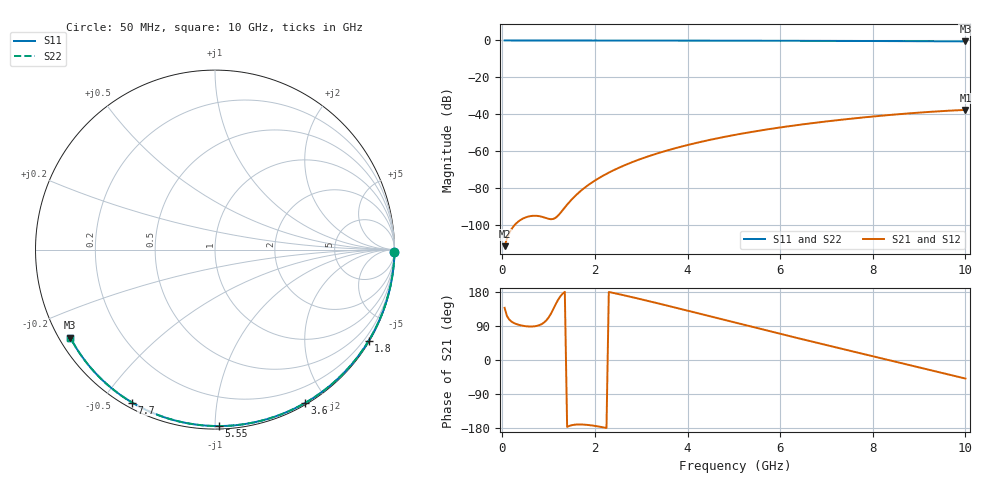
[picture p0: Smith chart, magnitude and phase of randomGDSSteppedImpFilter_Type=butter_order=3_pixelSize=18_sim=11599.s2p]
! freq	dB(S11)	phase(S11)	dB(S12)	phase(S12)
!  dB(S21)	phase(S21)	dB(S22)	phase(S22)
!S-par simulation data
#  GHz  S  DB  R 50
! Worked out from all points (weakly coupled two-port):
!   200 points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, 50 MHz to 10 GHz, reference 50 ohm
!   highest |S21| = -37.62 dB at 10 GHz (marker M1); lowest = -111.5 dB at 50 MHz (marker M2)
!   lowest |S11| = -0.5 dB at 10 GHz (marker M3), VSWR 34.30, Z = 1.57 - j14 ohm
!   |S11| at or under -10 dB: nowhere
!   |S22| runs from -0.5 to 0.0 dB; largest |S21 - S12| = 0
!   S11 on the Smith chart (normalised r, x): 50 MHz: open; 1.8 GHz: 0.03, -3.65; 3.6 GHz: 0.02, -1.74; 5.55 GHz: 0.02, -1.02; 7.7 GHz: 0.02, -0.60; 10 GHz: 0.03, -0.28
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0.05  -0.00 -0.9  -111.46 137.6  -111.46 137.6  -0.00 -0.9
0.45  -0.01 -7.8  -96.46 90.2  -96.46 90.2  -0.01 -7.8
0.9  -0.02 -15.5  -95.85 98.7  -95.85 98.7  -0.02 -15.5
1.3  -0.03 -22.2  -92.05 174.6  -92.05 174.6  -0.03 -22.2
1.75  -0.04 -29.8  -80.36 -170.4  -80.36 -170.4  -0.04 -29.8
1.8  -0.04 -30.6  -79.38 -170.8  -79.38 -170.8  -0.04 -30.6
1.95  -0.04 -33.1  -76.71 -173.0  -76.71 -173.0  -0.04 -33.1
2.1  -0.05 -35.6  -74.37 -175.9  -74.37 -175.9  -0.05 -35.6
2.3  -0.05 -38.9  -71.61 179.4  -71.61 179.4  -0.05 -38.9
2.5  -0.05 -42.1  -69.18 174.3  -69.18 174.3  -0.05 -42.1
2.9  -0.06 -48.6  -65.03 163.1  -65.03 163.1  -0.06 -48.6
3.4  -0.07 -56.5  -60.79 148.4  -60.79 148.4  -0.07 -56.5
3.6  -0.08 -59.7  -59.32 142.3  -59.32 142.3  -0.08 -59.7
4.3  -0.10 -70.4  -54.87 121.0  -54.87 121.0  -0.10 -70.4
5.05  -0.12 -81.6  -51.03 98.1  -51.03 98.1  -0.12 -81.5
5.55  -0.15 -88.8  -48.87 82.8  -48.87 82.8  -0.15 -88.8
6.1  -0.17 -96.6  -46.78 66.2  -46.78 66.2  -0.17 -96.6
6.7  -0.20 -104.9  -44.78 48.2  -44.78 48.2  -0.20 -104.9
7.7  -0.27 -118.4  -41.95 18.8  -41.95 18.8  -0.27 -118.4
8.35  -0.33 -127.0  -40.41 -0.2  -40.41 -0.2  -0.33 -127.0
9.2  -0.41 -138.2  -38.74 -25.3  -38.74 -25.3  -0.41 -138.2
10  -0.51 -148.7  -37.62 -49.0  -37.62 -49.0  -0.51 -148.7
